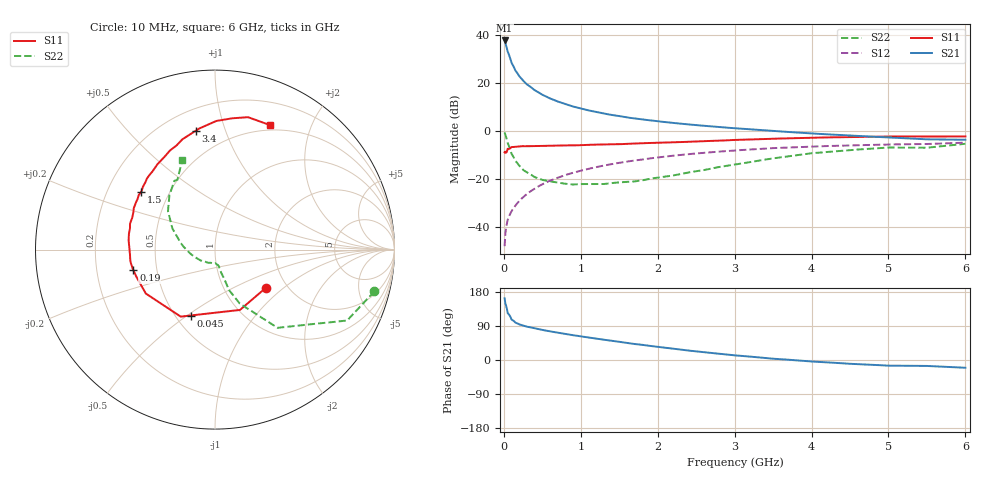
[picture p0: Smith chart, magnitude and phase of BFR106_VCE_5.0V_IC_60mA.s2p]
! Infineon Technologies  Discrete & RF Semiconductors
! BFR106
! VCE =  5.0 V,  IC =  60 mA
! Common Emitter S-Parameters:  Nov 2015
# GHz  S  MA  R  50
!  f  S11  S21  S12  S22
! GHz  MAG  ANG  MAG  ANG  MAG  ANG  MAG  ANG
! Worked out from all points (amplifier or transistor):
!   210 points, 10 MHz to 6 GHz, reference 50 ohm
!   highest |S21| = 37.6 dB at 10 MHz (marker M1)
!   |S21| within 3 dB of that: start of sweep to 36.6 MHz
!   unconditionally stable (mu >= 1): 238.1 MHz to 2.319 GHz
!   at 185 MHz: K = 0.95, MSG = 26.7 dB, |S12| = -29.9 dB
!   at 1.52 GHz: K = 1.05, MAG = 8.3 dB, |S12| = -13.3 dB
!   at 6 GHz: K = 0.99, MSG = 0.6 dB, |S12| = -5.0 dB
!   S11 on the Smith chart (normalised r, x): 10 MHz: 1.56, -0.76; 45 MHz: 0.59, -0.52; 190 MHz: 0.37, -0.11; 1.5 GHz: 0.35, +0.31; 3.4 GHz: 0.33, +0.80; 6 GHz: 0.44, +1.44
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0.01  0.3543 -37.0  76.22 162.7  0.0039 83.4  0.9181 -14.7
0.02  0.3638 -67.5  68.27 149.2  0.0072 71.1  0.8356 -28.2
0.045  0.3915 -110.3  47.88 129.7  0.0127 63.8  0.5959 -46.0
0.05  0.4194 -117.1  44.83 123.8  0.0138 63.0  0.5583 -51.3
0.1  0.4566 -147.6  26.16 106.9  0.0209 62.0  0.3313 -65.3
0.15  0.4632 -160.5  18.01 98.8  0.0273 65.8  0.2363 -71.1
0.19  0.469 -165.9  14.6 95.3  0.0327 68.0  0.1963 -71.6
0.2  0.4711 -167.2  13.76 94.1  0.0341 68.4  0.1863 -71.8
0.26  0.4757 -173.0  10.68 90.0  0.0423 70.6  0.1482 -73.8
0.3  0.4744 -176.2  9.257 87.9  0.0478 71.8  0.1347 -74.9
0.4  0.4784 178.1  7.001 83.4  0.0618 72.5  0.1079 -76.0
0.5  0.4842 173.6  5.62 79.3  0.0761 72.6  0.094 -76.9
0.6  0.4874 169.7  4.713 75.5  0.0906 72.0  0.0877 -79.0
0.8  0.495 163.1  3.571 68.7  0.1186 70.0  0.0782 -86.8
1.02  0.4997 155.6  2.848 61.8  0.1491 67.4  0.077 -94.4
1.5  0.5217 141.8  2.022 48.0  0.2136 60.8  0.0837 -119.6
2.02  0.5584 128.4  1.56 34.3  0.2788 53.1  0.1064 -149.4
3.1  0.6476 104.5  1.095 10.7  0.3955 36.6  0.208 164.9
3.4  0.6713 99.1  1.012 5.4  0.4231 32.1  0.2497 156.0
4.1  0.7202 88.0  0.857 -5.0  0.4731 21.7  0.3487 138.3
5.1  0.7589 74.9  0.71 -15.0  0.5181 9.1  0.4443 120.1
6  0.7587 66.2  0.647 -20.5  0.5628 -0.6  0.533 110.0
